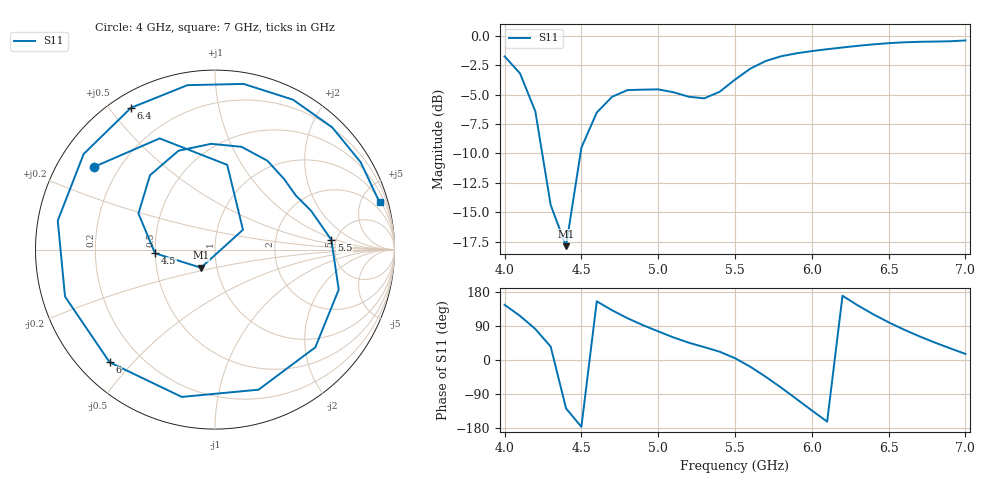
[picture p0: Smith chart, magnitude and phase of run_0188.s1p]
! Touchstone file exported from HFSS 2024.2.0
!  File:  C:/Users/wsak9/Desktop/Sim Fast/Widenad Patch/WP_AI_V1_sweep.aedt
!  Generated:  10:47:29 PM Oct 13, 2026
!  Design:  A1_model
!  Project:  WP_AI_V1_sweep
!  Setup:  Setup1
!  Solution:  Sweep
! Variables:
!  Air_gap = 2.09mm
!  Curve_Amp1 = 2.32
!  Curve_len1 = 1
!  Curve_pos = 12.545mm
!  Extra = 2.78mm
!  H_sub = 0.79mm
!  L_Patch = 21.09mm
!  L_Patch1 = 18.92mm
!  Sx = 0.31mm
!  Sy = 3.18mm
!  WS = 1.37mm
!  W_Patch = 11.46mm
!  W_Patch1 = 16.14mm
!Data is not renormalized
# GHz S MA
! Terminal data exported
! Port[1] = 1
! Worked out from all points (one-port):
!   31 points, 4 GHz to 7 GHz, reference per port
!   lowest |S11| = -17.9 dB at 4.4 GHz (marker M1), VSWR 1.29
!   |S11| at or under -10 dB: 4.245 GHz to 4.494 GHz (249.2 MHz wide, 5.7 % of centre)
!   S11 on the Smith chart (normalised r, x): 4 GHz: 0.11, +0.31; 4.5 GHz: 0.50, -0.02; 5.5 GHz: 4.56, +0.86; 6 GHz: 0.09, -0.43; 6.4 GHz: 0.06, +0.57; 7 GHz: 1.18, +6.90
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4  0.8162 145.6
4.1  0.6921 116.5
4.2  0.4771 81.8
4.3  0.191 35.3
4.4  0.1277 -127.7
4.5  0.3347 -176.5
4.6  0.4716 154.8
4.7  0.5502 131.2
4.8  0.5873 110.3
4.9  0.5898 92.1
5  0.5914 75.5
5.2  0.5502 45.5
5.4  0.5776 21.9
5.5  0.6506 4.8
5.6  0.7244 -17.9
5.7  0.7803 -44.2
5.8  0.8173 -72.7
5.9  0.8413 -102.7
6  0.8596 -133.1
6.1  0.8756 -162.6
6.2  0.8907 169.6
6.3  0.9051 144.0
6.4  0.9182 120.7
6.5  0.929 99.5
6.6  0.9368 80.2
6.7  0.9414 62.5
6.8  0.9436 46.2
7  0.9539 16.1
